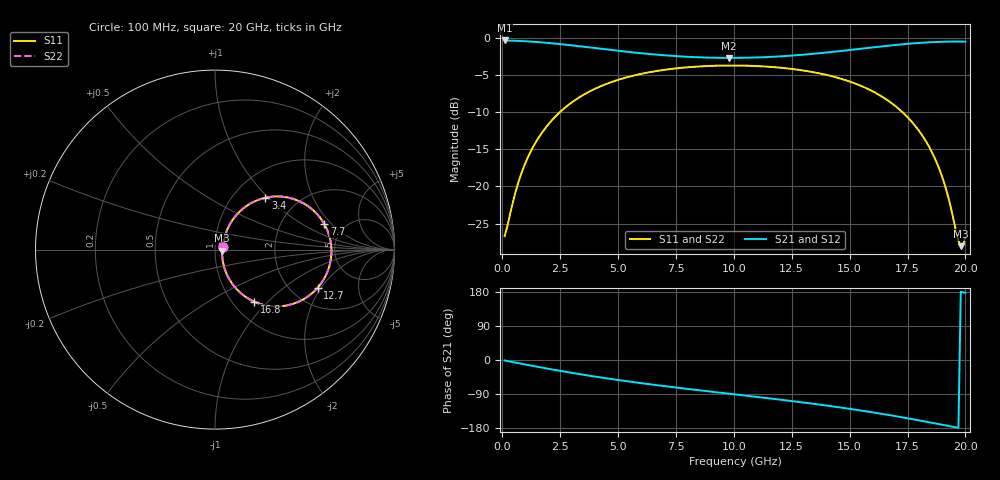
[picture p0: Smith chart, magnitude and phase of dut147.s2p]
! Touchstone file exported from HFSS 2026.1.0
!  File:  C:/ffzhzh/LocalFiles/Ansys_Project_Files/temp_train_TSV_RDL_147_1783051535_36532.aedt
!  Generated:  12:19:50 PM Jul  3, 2026
!  Design:  TSV_RDL
!  Project:  temp_train_TSV_RDL_147_1783051535_36532
! Variables:
!  h_bsmrdl = 2.14um
!  h_ox = 20um
!  h_rdl = 5um
!  h_sub = 86.07um
!  h_tmrdl = 2.55um
!  h_tsv = 86.07um
!  h_via = 3um
!  l_bsmrdl = 669.55um
!  l_sub = 2916.15um
!  l_tmrdl = 105.35um
!  m_sub = 200um
!  pitch = 38.26um
!  r_tsv = 2.06um
!  s_tmrdl = 10um
!  w_bsmrdl = 12.15um
!  w_sub = 500um
!  w_tmrdl = 16.55um
!  x_tsv_center1 = 113.625um
!  x_tsv_center2 = 795.325um
!  x_tsv_center3 = 917.225um
!  x_tsv_center4 = 1598.925um
!  x_tsv_center5 = 1720.825um
!  x_tsv_center6 = 2402.525um
# GHz S MA R 50.000000
! Terminal data exported
! Port[1] = TM_RDL1_1_T1
! Port[2] = TM_RDL5_1_T1
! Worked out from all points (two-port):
!   200 points, 100 MHz to 20 GHz, reference 50 ohm
!   highest |S21| = -0.39 dB at 100 MHz (marker M1); lowest = -2.7 dB at 9.8 GHz (marker M2)
!   |S21| within 3 dB of the highest: start of sweep to end of sweep
!   lowest |S11| = -28.0 dB at 19.8 GHz (marker M3), VSWR 1.08, Z = 54.1 - j0.571 ohm
!   |S11| at or under -10 dB: start of sweep to 2.496 GHz; 17.27 GHz to end of sweep
!   |S22| runs from -28.0 to -3.8 dB; largest |S21 - S12| = 3.9e-14
!   S11 on the Smith chart (normalised r, x): 100 MHz: 1.09, +0.03; 3.4 GHz: 1.39, +0.96; 7.7 GHz: 3.51, +1.65; 12.7 GHz: 2.74, -1.86; 16.8 GHz: 1.25, -0.84; 20 GHz: 1.08, +0.04
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0.1  0.04632 16.6  0.9558 -1.2  0.9558 -1.2  0.04632 16.6
! Gamma 0 0 0 0
! Port Impedance 50 0 50 0
0.7  0.1072 56.2  0.9493 -8.5  0.9493 -8.5  0.1072 56.2
1.3  0.1804 59.5  0.9376 -15.4  0.9376 -15.4  0.1804 59.5
2.2  0.2845 55.1  0.9131 -25.5  0.9131 -25.5  0.2845 55.1
3.4  0.4031 45.8  0.8718 -38.0  0.8718 -38.0  0.4031 45.8
3.5  0.4117 45.0  0.8682 -38.9  0.8682 -38.9  0.4117 45.0
5  0.5196 32.9  0.8149 -52.8  0.8149 -52.8  0.5196 32.9
6.8  0.6006 19.5  0.7642 -67.4  0.7642 -67.4  0.6006 19.5
7.7  0.6251 13.2  0.7469 -74.1  0.7469 -74.1  0.6251 13.2
9.8  0.6488 -0.8  0.7298 -89.0  0.7298 -89.0  0.6488 -0.8
10.1  0.6487 -2.8  0.7301 -91.1  0.7301 -91.1  0.6487 -2.8
12.7  0.6099 -20.4  0.7602 -109.9  0.7602 -109.9  0.6099 -20.4
13.4  0.5864 -25.5  0.7765 -115.3  0.7765 -115.3  0.5864 -25.5
15.2  0.4935 -39.5  0.8309 -130.6  0.8309 -130.6  0.4935 -39.5
16.7  0.3733 -52.1  0.8824 -145.2  0.8824 -145.2  0.3733 -52.1
16.8  0.3638 -53.0  0.8857 -146.3  0.8857 -146.3  0.3637 -53.0
17.8  0.2588 -60.9  0.9152 -157.1  0.9152 -157.1  0.2588 -60.9
18.6  0.1643 -64.5  0.9318 -166.2  0.9318 -166.2  0.1643 -64.5
19.1  0.1035 -61.6  0.9377 -172.0  0.9377 -172.0  0.1035 -61.7
19.7  0.04301 -24.2  0.9397 -179.1  0.9397 -179.1  0.04295 -24.3
19.8  0.03968 -7.6  0.9395 179.8  0.9395 179.8  0.03962 -7.6
20  0.04544 25.3  0.9386 177.4  0.9386 177.4  0.04539 25.4
